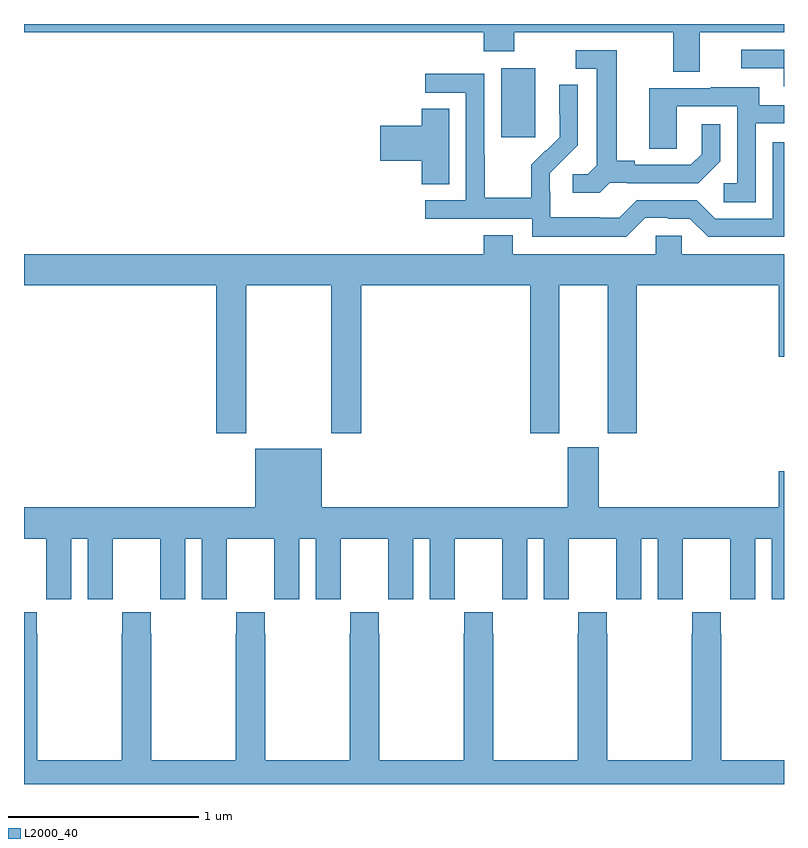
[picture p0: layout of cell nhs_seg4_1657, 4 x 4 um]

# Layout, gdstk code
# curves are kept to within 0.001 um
import gdstk
lib = gdstk.Library(unit=1e-6, precision=1e-09)
def R(c, l, rs):  # rectangles x0, y0, x1, y1
    for r in rs: c.add(gdstk.rectangle(r[:2], r[2:], *l))
def P(c, l, *ps):  # polygons
    for p in ps: c.add(gdstk.Polygon(p, *l))
L2000_40 = (2000, 40)

nhs_seg4_1657 = lib.new_cell('nhs_seg4_1657')
R(nhs_seg4_1657, L2000_40, [(199.511,760.305,199.69,760.666)])
P(nhs_seg4_1657, L2000_40, [(200.557,760.856),(201,760.856),(201,760.9),(197,760.9),(197,760.856),(199.421,760.856),(199.421,760.757),(199.581,760.757),(199.581,760.856),(200.417,760.856),(200.417,760.648),(200.557,760.648)],
  [(201,760.764),(200.775,760.764),(200.775,760.668),(200.999,760.668),(200.999,760.572),(201,760.572)],
  [(200.082,760.065),(200.176,760.065),(200.176,760.062),(200.548,760.062),(200.664,760.178),(200.664,760.372),(200.567,760.372),(200.567,760.215),(200.51,760.158),(200.215,760.158),(200.215,760.181),(200.119,760.181),(200.119,760.761),(199.905,760.761),(199.905,760.665),(200.015,760.665),(200.015,760.157),(199.968,760.11),(199.887,760.11),(199.887,760.013),(200.03,760.013)],
  [(200.271,759.879),(200.387,759.879),(200.387,759.876),(200.505,759.876),(200.601,759.78),(201,759.78),(201,760.278),(200.94,760.278),(200.94,759.876),(200.637,759.876),(200.541,759.972),(200.226,759.972),(200.133,759.879),(200.033,759.879),(200.033,759.883),(199.77,759.883),(199.77,760.017),(199.768,760.017),(199.768,760.114),(199.914,760.262),(199.914,760.58),(199.818,760.58),(199.818,760.426),(199.82,760.426),(199.82,760.304),(199.749,760.233),(199.746,760.236),(199.669,760.159),(199.669,759.985),(199.425,759.985),(199.425,760.208),(199.422,760.208),(199.422,760.638),(199.113,760.638),(199.113,760.539),(199.326,760.539),(199.326,759.972),(199.113,759.972),(199.113,759.876),(199.674,759.876),(199.674,759.779),(200.171,759.779)],
  [(200.85,760.377),(201,760.377),(201,760.473),(200.869,760.473),(200.869,760.567),(200.615,760.567),(200.615,760.563),(200.291,760.563),(200.291,760.243),(200.436,760.243),(200.436,760.467),(200.754,760.467),(200.754,760.062),(200.682,760.062),(200.682,759.961),(200.85,759.961)],
  [(199.237,760.454),(199.094,760.454),(199.094,760.364),(198.876,760.364),(198.876,760.181),(199.094,760.181),(199.094,760.057),(199.237,760.057)],
  [(198.171,759.524),(198.616,759.524),(198.616,758.745),(198.776,758.745),(198.776,759.524),(199.664,759.524),(199.664,758.745),(199.816,758.745),(199.816,759.524),(200.072,759.524),(200.072,758.745),(200.225,758.745),(200.225,759.524),(200.972,759.524),(200.972,759.15),(201,759.15),(201,759.688),(200.463,759.688),(200.463,759.786),(200.325,759.786),(200.325,759.688),(199.573,759.688),(199.573,759.787),(199.421,759.787),(199.421,759.688),(197,759.688),(197,759.524),(198.011,759.524),(198.011,758.745),(198.171,758.745)],
  [(200.026,758.673),(199.862,758.673),(199.862,758.356),(198.568,758.356),(198.568,758.665),(198.218,758.665),(198.218,758.356),(197,758.356),(197,758.192),(197.117,758.192),(197.117,757.984),(197.118,757.984),(197.118,757.872),(197.248,757.872),(197.248,758.192),(197.336,758.192),(197.336,757.872),(197.466,757.872),(197.466,757.984),(197.467,757.984),(197.467,758.192),(197.717,758.192),(197.717,757.984),(197.718,757.984),(197.718,757.872),(197.848,757.872),(197.848,758.192),(197.936,758.192),(197.936,757.872),(198.066,757.872),(198.066,757.984),(198.067,757.984),(198.067,758.192),(198.317,758.192),(198.317,757.984),(198.318,757.984),(198.318,757.872),(198.448,757.872),(198.448,758.192),(198.536,758.192),(198.536,757.872),(198.666,757.872),(198.666,757.984),(198.667,757.984),(198.667,758.192),(198.917,758.192),(198.917,757.984),(198.918,757.984),(198.918,757.872),(199.048,757.872),(199.048,758.192),(199.136,758.192),(199.136,757.872),(199.266,757.872),(199.266,757.984),(199.267,757.984),(199.267,758.192),(199.517,758.192),(199.517,757.984),(199.518,757.984),(199.518,757.872),(199.648,757.872),(199.648,758.192),(199.736,758.192),(199.736,757.872),(199.866,757.872),(199.866,757.984),(199.867,757.984),(199.867,758.192),(200.117,758.192),(200.117,757.984),(200.118,757.984),(200.118,757.872),(200.248,757.872),(200.248,758.192),(200.336,758.192),(200.336,757.872),(200.466,757.872),(200.466,757.984),(200.467,757.984),(200.467,758.192),(200.717,758.192),(200.717,757.984),(200.718,757.984),(200.718,757.872),(200.848,757.872),(200.848,758.192),(200.936,758.192),(200.936,757.872),(201,757.872),(201,758.545),(200.972,758.545),(200.972,758.356),(200.026,758.356)],
  [(200.517,757.804),(200.517,757.691),(200.515,757.691),(200.515,757.024),(200.07,757.024),(200.07,757.691),(200.067,757.691),(200.067,757.804),(199.917,757.804),(199.917,757.691),(199.915,757.691),(199.915,757.024),(199.47,757.024),(199.47,757.691),(199.467,757.691),(199.467,757.804),(199.317,757.804),(199.317,757.691),(199.315,757.691),(199.315,757.024),(198.87,757.024),(198.87,757.691),(198.867,757.691),(198.867,757.804),(198.717,757.804),(198.717,757.691),(198.715,757.691),(198.715,757.024),(198.27,757.024),(198.27,757.691),(198.267,757.691),(198.267,757.804),(198.117,757.804),(198.117,757.691),(198.115,757.691),(198.115,757.024),(197.67,757.024),(197.67,757.691),(197.667,757.691),(197.667,757.804),(197.517,757.804),(197.517,757.691),(197.515,757.691),(197.515,757.024),(197.07,757.024),(197.07,757.691),(197.067,757.691),(197.067,757.804),(197,757.804),(197,756.9),(201,756.9),(201,757.024),(200.67,757.024),(200.67,757.691),(200.667,757.691),(200.667,757.804)])

lib.write_gds('nhs_seg4_1657.gds')
